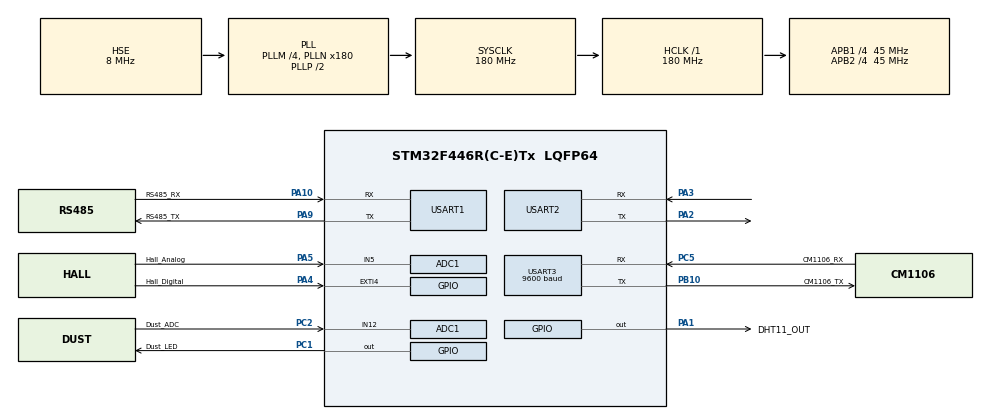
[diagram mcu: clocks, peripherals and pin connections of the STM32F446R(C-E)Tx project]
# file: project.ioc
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ADC1.Channel-0\#ChannelRegularConversion=ADC_CHANNEL_5
ADC1.Channel-2\#ChannelInjectedConversion=ADC_CHANNEL_12
ADC1.ContinuousConvMode=ENABLE
ADC1.DMAContinuousRequests=ENABLE
ADC1.DiscontinuousConvMode=DISABLE
ADC1.InjNumberOfConversion=1
ADC1.InjectedOffset-2\#ChannelInjectedConversion=0
ADC1.InjectedRank-2\#ChannelInjectedConversion=1
ADC1.NbrOfConversion=1
ADC1.NbrOfConversionFlag=1
ADC1.Rank-0\#ChannelRegularConversion=1
ADC1.SamplingTime-0\#ChannelRegularConversion=ADC_SAMPLETIME_480CYCLES
ADC1.SamplingTime-2\#ChannelInjectedConversion=ADC_SAMPLETIME_480CYCLES
ADC1.master=1
Dma.ADC1.2.Direction=DMA_PERIPH_TO_MEMORY
Dma.ADC1.2.FIFOMode=DMA_FIFOMODE_DISABLE
Dma.ADC1.2.Instance=DMA2_Stream0
Dma.ADC1.2.MemDataAlignment=DMA_MDATAALIGN_HALFWORD
Dma.ADC1.2.MemInc=DMA_MINC_ENABLE
Dma.ADC1.2.Mode=DMA_CIRCULAR
Dma.ADC1.2.PeriphDataAlignment=DMA_PDATAALIGN_HALFWORD
Dma.ADC1.2.PeriphInc=DMA_PINC_DISABLE
Dma.ADC1.2.Priority=DMA_PRIORITY_LOW
Dma.Request0=USART2_RX
Dma.Request1=USART3_RX
Dma.Request2=ADC1
Dma.Request3=USART1_RX
Dma.USART1_RX.3.Direction=DMA_PERIPH_TO_MEMORY
Dma.USART1_RX.3.FIFOMode=DMA_FIFOMODE_DISABLE
Dma.USART1_RX.3.Instance=DMA2_Stream2
Dma.USART1_RX.3.MemDataAlignment=DMA_MDATAALIGN_BYTE
Dma.USART1_RX.3.MemInc=DMA_MINC_ENABLE
Dma.USART1_RX.3.Mode=DMA_NORMAL
Dma.USART1_RX.3.PeriphDataAlignment=DMA_PDATAALIGN_BYTE
Dma.USART1_RX.3.PeriphInc=DMA_PINC_DISABLE
Dma.USART1_RX.3.Priority=DMA_PRIORITY_VERY_HIGH
Dma.USART2_RX.0.Direction=DMA_PERIPH_TO_MEMORY
Dma.USART2_RX.0.FIFOMode=DMA_FIFOMODE_DISABLE
Dma.USART2_RX.0.Instance=DMA1_Stream5
Dma.USART2_RX.0.MemDataAlignment=DMA_MDATAALIGN_BYTE
Dma.USART2_RX.0.MemInc=DMA_MINC_ENABLE
Dma.USART2_RX.0.Mode=DMA_CIRCULAR
Dma.USART2_RX.0.PeriphDataAlignment=DMA_PDATAALIGN_BYTE
Dma.USART2_RX.0.PeriphInc=DMA_PINC_DISABLE
Dma.USART2_RX.0.Priority=DMA_PRIORITY_VERY_HIGH
Dma.USART3_RX.1.Direction=DMA_PERIPH_TO_MEMORY
Dma.USART3_RX.1.FIFOMode=DMA_FIFOMODE_DISABLE
Dma.USART3_RX.1.Instance=DMA1_Stream1
Dma.USART3_RX.1.MemDataAlignment=DMA_MDATAALIGN_BYTE
Dma.USART3_RX.1.MemInc=DMA_MINC_ENABLE
Dma.USART3_RX.1.Mode=DMA_NORMAL
Dma.USART3_RX.1.PeriphDataAlignment=DMA_PDATAALIGN_BYTE
Dma.USART3_RX.1.PeriphInc=DMA_PINC_DISABLE
Dma.USART3_RX.1.Priority=DMA_PRIORITY_VERY_HIGH
FREERTOS.BinarySemaphores01=rs485Sem,Dynamic,NULL,Available
FREERTOS.Mutexes01=SensorMutex,Dynamic,NULL,Available
FREERTOS.Tasks01=RS485Task,32,256,StartRS485Task,Default,NULL,Dynamic,NULL,NULL;DHT11Task,24,256,StartDht11Task,Default,NULL,Dynamic,NULL,NULL;FastSensorTask,24,256,StartFastSensorTask,Default,NULL,Dynamic,NULL,NULL;MagnetTask,32,128,StartMagnetTask,Default,NULL,Dynamic,NULL,NULL
Mcu.Family=STM32F4
Mcu.Name=STM32F446R(C-E)Tx
Mcu.Package=LQFP64
NVIC.DMA1_Stream1_IRQn=true\:5\:0\:false\:false\:true\:true\:false\:true\:true
NVIC.DMA1_Stream5_IRQn=true\:5\:0\:false\:true\:true\:1\:true\:false\:true\:true
NVIC.DMA2_Stream0_IRQn=true\:5\:0\:false\:true\:true\:4\:true\:false\:true\:true
NVIC.DMA2_Stream2_IRQn=true\:5\:0\:false\:true\:true\:5\:true\:false\:true\:true
NVIC.EXTI4_IRQn=true\:5\:0\:false\:true\:true\:2\:true\:true\:true\:true
NVIC.PriorityGroup=NVIC_PRIORITYGROUP_4
NVIC.TIM3_IRQn=true\:5\:0\:false\:false\:true\:true\:true\:true\:true
NVIC.TIM8_TRG_COM_TIM14_IRQn=true\:15\:0\:false\:false\:true\:false\:false\:true\:true
NVIC.TimeBase=TIM8_TRG_COM_TIM14_IRQn
NVIC.TimeBaseIP=TIM14
NVIC.USART1_IRQn=true\:5\:0\:false\:true\:true\:3\:true\:true\:true\:true
NVIC.USART3_IRQn=true\:5\:0\:false\:false\:true\:true\:true\:true\:true
PA1.GPIO_Label=DHT11_OUT
PA1.GPIO_Speed=GPIO_SPEED_FREQ_VERY_HIGH
PA1.PinState=GPIO_PIN_SET
PA1.Signal=GPIO_Output
PA10.GPIO_Label=RS485_RX
PA10.Mode=Asynchronous
PA10.Signal=USART1_RX
PA13.Mode=Serial_Wire
PA13.Signal=SYS_JTMS-SWDIO
PA14.Mode=Serial_Wire
PA14.Signal=SYS_JTCK-SWCLK
PA2.Mode=Asynchronous
PA2.Signal=USART2_TX
PA3.Mode=Asynchronous
PA3.Signal=USART2_RX
PA4.GPIO_Label=Hall_Digital
PA4.Signal=GPXTI4
PA5.GPIO_Label=Hall_Analog
PA5.Signal=SharedAnalog_PA5
PA9.GPIO_Label=RS485_TX
PA9.Mode=Asynchronous
PA9.Signal=USART1_TX
PB10.GPIO_Label=CM1106_TX
PB10.Mode=Asynchronous
PB10.Signal=USART3_TX
PC1.GPIO_Label=Dust_LED
PC1.GPIO_Speed=GPIO_SPEED_FREQ_VERY_HIGH
PC1.Signal=GPIO_Output
PC2.GPIO_Label=Dust_ADC
PC2.Signal=ADCx_IN12
PC5.GPIO_Label=CM1106_RX
PC5.Mode=Asynchronous
PC5.Signal=USART3_RX
PH0-OSC_IN.Mode=HSE-External-Oscillator
PH0-OSC_IN.Signal=RCC_OSC_IN
PH1-OSC_OUT.Mode=HSE-External-Oscillator
PH1-OSC_OUT.Signal=RCC_OSC_OUT
ProjectManager.HeapSize=0x200
ProjectManager.StackSize=0x400
ProjectManager.TargetToolchain=STM32CubeIDE
RCC.AHBFreq_Value=180000000
RCC.APB1CLKDivider=RCC_HCLK_DIV4
RCC.APB1Freq_Value=45000000
RCC.APB1TimFreq_Value=90000000
RCC.APB2CLKDivider=RCC_HCLK_DIV4
RCC.APB2Freq_Value=45000000
RCC.APB2TimFreq_Value=90000000
RCC.CortexFreq_Value=180000000
RCC.HCLKFreq_Value=180000000
RCC.HSE_VALUE=8000000
RCC.PLLM=4
RCC.PLLN=180
RCC.PLLSourceVirtual=RCC_PLLSOURCE_HSE
RCC.SYSCLKFreq_VALUE=180000000
RCC.SYSCLKSource=RCC_SYSCLKSOURCE_PLLCLK
RCC.USBFreq_Value=180000000
RCC.VCOOutputFreq_Value=360000000
SH.ADCx_IN12.0=ADC1_IN12,IN12
SH.SharedAnalog_PA5.0=GPIO_Analog
SH.SharedAnalog_PA5.1=ADC1_IN5,IN5
TIM2.Period=1000-1
TIM2.Prescaler=9000-1
TIM2.TIM_MasterOutputTrigger=TIM_TRGO_UPDATE
TIM3.Period=100-1
TIM3.Prescaler=9000-1
TIM3.TIM_MasterOutputTrigger=TIM_TRGO_UPDATE
TIM6.Period=65535
TIM6.Prescaler=90-1
TIM7.Prescaler=90-1
USART1.VirtualMode=VM_ASYNC
USART2.VirtualMode=VM_ASYNC
USART3.BaudRate=9600
USART3.VirtualMode=VM_ASYNC
VP_FREERTOS_VS_CMSIS_V2.Mode=CMSIS_V2
VP_SYS_VS_tim14.Mode=TIM14
VP_TIM2_VS_ClockSourceINT.Mode=Internal
VP_TIM3_VS_ClockSourceINT.Mode=Internal
VP_TIM6_VS_ClockSourceINT.Mode=Enable_Timer
VP_TIM7_VS_ClockSourceINT.Mode=Enable_Timer
board=custom

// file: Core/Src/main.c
/* USER CODE BEGIN Header */
/**
  ******************************************************************************
  * @file           : main.c
  * @brief          : Main program body
  ******************************************************************************
  * @attention
  *
  * Copyright (c) 2026 STMicroelectronics.
  * All rights reserved.
  *
  * This software is licensed under terms that can be found in the LICENSE file
  * in the root directory of this software component.
  * If no LICENSE file comes with this software, it is provided AS-IS.
  *
  ******************************************************************************
  */
/* USER CODE END Header */
#include "main.h"
#include "cmsis_os.h"
#include "adc.h"
#include "dma.h"
#include "tim.h"
#include "usart.h"
#include "gpio.h"

/* USER CODE BEGIN Includes */
#include <stdio.h>
//#include <My_MCU_Printf_Lib_V2_8.h>
/* USER CODE END Includes */

/* USER CODE BEGIN PV */

extern osThreadId_t FastSensorTaskHandle;
extern osThreadId_t MagnetTaskHandle;
extern osSemaphoreId_t rs485SemHandle;

sensorData s_data = {
		.zone = 1
};

/*
uint8_t cm1106_rx_buf[8];
uint8_t cm1106_cmd[4] = {0x11, 0x01, 0x01, 0xED};
uint16_t co2_ppm = 0;

uint16_t dust_adc = 0;
float dust_voltage = 0;
float dust_value = 0;
static const float dust_clean = 0.28;

uint16_t hall_adc;	// Hall sensor

uint16_t tempdht11, humidht11;
*/
/* USER CODE END PV */

void SystemClock_Config(void);
void MX_FREERTOS_Init(void);
static void MX_NVIC_Init(void);

/* USER CODE BEGIN 0 */

/*
void dht11(uint16_t *temperature, uint16_t *humid)
{
    uint16_t tempc, humidc;

    GPIO_InitTypeDef GPIO_InitStruct = {0};
    GPIO_InitStruct.Pin = DHT11_OUT_Pin;
    GPIO_InitStruct.Mode = GPIO_MODE_OUTPUT_PP;
    GPIO_InitStruct.Pull = GPIO_NOPULL;
    GPIO_InitStruct.Speed = GPIO_SPEED_FREQ_VERY_HIGH;
    HAL_GPIO_Init(DHT11_OUT_GPIO_Port, &GPIO_InitStruct);

    HAL_GPIO_WritePin(DHT11_OUT_GPIO_Port, DHT11_OUT_Pin, 0);

    HAL_Delay(20);

    HAL_GPIO_WritePin(DHT11_OUT_GPIO_Port, DHT11_OUT_Pin, 1);

    GPIO_InitStruct.Pin = DHT11_OUT_Pin;
    GPIO_InitStruct.Mode = GPIO_MODE_INPUT;
    GPIO_InitStruct.Pull = GPIO_NOPULL;
    GPIO_InitStruct.Speed = GPIO_SPEED_FREQ_VERY_HIGH;
    HAL_GPIO_Init(DHT11_OUT_GPIO_Port, &GPIO_InitStruct);

    // try to get counter's start
    __HAL_TIM_SET_COUNTER(&htim7, 0);

    // pick the time of start GPIO_PIN_SET / RESET for each ler[0], ler[1]
    uint16_t ler[2];
    // save the time between start and end of signal
    uint16_t duration[42];
    uint8_t bits[40];
    uint16_t temph = 0;
    uint16_t humidh = 0;

    for(int i = 0; i < 42; i++) {
        while(HAL_GPIO_ReadPin(DHT11_OUT_GPIO_Port, DHT11_OUT_Pin) == 0);
        ler[0] = __HAL_TIM_GET_COUNTER(&htim7);
        while(HAL_GPIO_ReadPin(DHT11_OUT_GPIO_Port, DHT11_OUT_Pin) == 1);
        ler[1] = __HAL_TIM_GET_COUNTER(&htim7);
        duration[i] = ler[1] - ler[0];
    }

    for(int i = 0; i < 40; i++) {
        if((duration[i+2] >= 20) && (duration[i+2] <= 32)) {
            bits[i] = 0;
        }
        else if ((duration[i+2] >= 65) && (duration[i+2] <= 75)) {
            bits[i] = 1;
        }
    }

    for(int i = 0; i < 8; i++) {
        temph += bits[i+16] << (7-i);
        humidh += bits[i] << (7-i);
    }

    tempc = temph;
    humidc = humidh;

    *temperature = tempc;
    *humid = humidc;
}
*/

/* USER CODE END 0 */

int main(void)
{

  /* MCU Configuration--------------------------------------------------------*/

  /* Reset of all peripherals, Initializes the Flash interface and the Systick. */
  HAL_Init();

  /* Configure the system clock */
  SystemClock_Config();

  /* Initialize all configured peripherals */
  MX_GPIO_Init();
  MX_DMA_Init();
  MX_USART2_UART_Init();
  MX_TIM3_Init();
  MX_TIM2_Init();
  MX_USART3_UART_Init();
  MX_ADC1_Init();
  MX_TIM6_Init();
  MX_TIM7_Init();
  MX_USART1_UART_Init();

  /* Initialize interrupts */
  MX_NVIC_Init();
  /* USER CODE BEGIN 2 */
  HAL_TIM_Base_Start(&htim6);
  HAL_TIM_Base_Start(&htim7);

  //HAL_UART_Receive_DMA(&huart3, cm1106_rx_buf, sizeof(cm1106_rx_buf));
  //HAL_ADC_Start_DMA(&hadc1, &hall_adc, 1);

  /* USER CODE END 2 */

  /* Init scheduler */
  osKernelInitialize();  /* Call init function for freertos objects (in cmsis_os2.c) */
  MX_FREERTOS_Init();

  /* Start scheduler */
  osKernelStart();

  /* We should never get here as control is now taken by the scheduler */

  /* Infinite loop */
  /* USER CODE BEGIN WHILE */
  while (1)
  {
	  /*	// CO2 sensor
	  HAL_UART_Transmit(&huart3, cm1106_cmd, sizeof(cm1106_cmd), 100);
	  HAL_Delay(200);

	  co2_ppm = cm1106_rx_buf[3] * 256 + cm1106_rx_buf[4];
	  printf("CO2 ppm = %d\r\n", co2_ppm);

	  HAL_Delay(800);
	  */

	  /*	// 미세먼지 sensor
	  HAL_GPIO_WritePin(Dust_LED_GPIO_Port, Dust_LED_Pin, 0);

	  __HAL_TIM_SET_COUNTER(&htim6, 0);
	  while(__HAL_TIM_GET_COUNTER(&htim6) < 280);

	  HAL_ADCEx_InjectedStart(&hadc1);
	  //HAL_ADC_Start_DMA(&hadc1, &dust_adc, 1);

	  if(HAL_ADCEx_InjectedPollForConversion(&hadc1, 10) == HAL_OK)
	  {
		  dust_adc = HAL_ADCEx_InjectedGetValue(&hadc1, ADC_INJECTED_RANK_1);
	  }

	  __HAL_TIM_SET_COUNTER(&htim6, 0);
	  while(__HAL_TIM_GET_COUNTER(&htim6) < 40);

	  HAL_GPIO_WritePin(Dust_LED_GPIO_Port, Dust_LED_Pin, 1);

	  printf("Dust_adc : %u\r\n", dust_adc);

	  dust_voltage = dust_adc * 5.0 / 4095.0;
	  printf("Dust_voltage : %f\r\n", dust_voltage);

	  dust_value = (dust_voltage - dust_clean) / 0.005;
	  printf("Dust_value : %f\r\n", dust_value);

	  HAL_Delay(1000);
	  */

	  /*	// A3144E sensor
	  printf("Hall: %u\r\n", hall_adc);
	  HAL_Delay(500);
	  */

	  /*	// DHT-11 sensor
      dht11(&tempdht11, &humidht11);
      printf("temp : %d, hum : %d\r\n", tempdht11, humidht11);
      HAL_Delay(2000);  // 2초마다 읽기
	  */

    /* USER CODE END WHILE */

  }
}

void SystemClock_Config(void)
{
  RCC_OscInitTypeDef RCC_OscInitStruct = {0};
  RCC_ClkInitTypeDef RCC_ClkInitStruct = {0};

  /** Configure the main internal regulator output voltage
  */
  __HAL_RCC_PWR_CLK_ENABLE();
  __HAL_PWR_VOLTAGESCALING_CONFIG(PWR_REGULATOR_VOLTAGE_SCALE1);

  /** Initializes the RCC Oscillators according to the specified parameters
  * in the RCC_OscInitTypeDef structure.
  */
  RCC_OscInitStruct.OscillatorType = RCC_OSCILLATORTYPE_HSE;
  RCC_OscInitStruct.HSEState = RCC_HSE_ON;
  RCC_OscInitStruct.PLL.PLLState = RCC_PLL_ON;
  RCC_OscInitStruct.PLL.PLLSource = RCC_PLLSOURCE_HSE;
  RCC_OscInitStruct.PLL.PLLM = 4;
  RCC_OscInitStruct.PLL.PLLN = 180;
  RCC_OscInitStruct.PLL.PLLP = RCC_PLLP_DIV2;
  RCC_OscInitStruct.PLL.PLLQ = 2;
  RCC_OscInitStruct.PLL.PLLR = 2;
  if (HAL_RCC_OscConfig(&RCC_OscInitStruct) != HAL_OK)
  {
    Error_Handler();
  }

  /** Activate the Over-Drive mode
  */
  if (HAL_PWREx_EnableOverDrive() != HAL_OK)
  {
    Error_Handler();
  }

  /** Initializes the CPU, AHB and APB buses clocks
  */
  RCC_ClkInitStruct.ClockType = RCC_CLOCKTYPE_HCLK|RCC_CLOCKTYPE_SYSCLK
                              |RCC_CLOCKTYPE_PCLK1|RCC_CLOCKTYPE_PCLK2;
  RCC_ClkInitStruct.SYSCLKSource = RCC_SYSCLKSOURCE_PLLCLK;
  RCC_ClkInitStruct.AHBCLKDivider = RCC_SYSCLK_DIV1;
  RCC_ClkInitStruct.APB1CLKDivider = RCC_HCLK_DIV4;
  RCC_ClkInitStruct.APB2CLKDivider = RCC_HCLK_DIV4;

  if (HAL_RCC_ClockConfig(&RCC_ClkInitStruct, FLASH_LATENCY_5) != HAL_OK)
  {
    Error_Handler();
  }
}

/**
  * @brief NVIC Configuration.
  * @retval None
  */
static void MX_NVIC_Init(void)
{
  /* DMA1_Stream5_IRQn interrupt configuration */
  HAL_NVIC_SetPriority(DMA1_Stream5_IRQn, 5, 0);
  HAL_NVIC_EnableIRQ(DMA1_Stream5_IRQn);
  /* EXTI4_IRQn interrupt configuration */
  HAL_NVIC_SetPriority(EXTI4_IRQn, 5, 0);
  HAL_NVIC_EnableIRQ(EXTI4_IRQn);
  /* USART1_IRQn interrupt configuration */
  HAL_NVIC_SetPriority(USART1_IRQn, 5, 0);
  HAL_NVIC_EnableIRQ(USART1_IRQn);
  /* DMA2_Stream0_IRQn interrupt configuration */
  HAL_NVIC_SetPriority(DMA2_Stream0_IRQn, 5, 0);
  HAL_NVIC_EnableIRQ(DMA2_Stream0_IRQn);
  /* DMA2_Stream2_IRQn interrupt configuration */
  HAL_NVIC_SetPriority(DMA2_Stream2_IRQn, 5, 0);
  HAL_NVIC_EnableIRQ(DMA2_Stream2_IRQn);
}

/* USER CODE BEGIN 4 */
void HAL_UART_RxCpltCallback(UART_HandleTypeDef *huart)
{
	if (huart->Instance == USART1)
	{
		osSemaphoreRelease(rs485SemHandle);
		HAL_UART_Transmit(&huart2, "Call BACK\r\n", 11, 100);
	}

    if (huart->Instance == USART3)
    {
        osThreadFlagsSet(FastSensorTaskHandle, 0x02);
    }
}

// 자기 sensor
void HAL_GPIO_EXTI_Callback(uint16_t GPIO_Pin)
{
	if (GPIO_Pin == Hall_Digital_Pin)
	{
		osThreadFlagsSet(MagnetTaskHandle, 0x01);
	}
}

/* USER CODE END 4 */

void HAL_TIM_PeriodElapsedCallback(TIM_HandleTypeDef *htim)
{
  if (htim->Instance == TIM14)
  {
    HAL_IncTick();
  }
}

void Error_Handler(void)
{
  __disable_irq();
  while (1)
  {
  }
}
